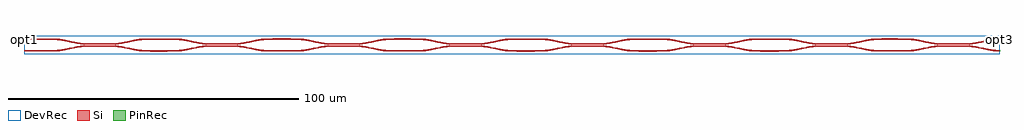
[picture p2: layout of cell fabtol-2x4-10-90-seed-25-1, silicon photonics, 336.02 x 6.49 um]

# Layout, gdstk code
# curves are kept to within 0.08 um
import gdstk
lib = gdstk.Library(unit=1e-6, precision=1e-09)
def R(c, l, rs):  # rectangles x0, y0, x1, y1
    for r in rs: c.add(gdstk.rectangle(r[:2], r[2:], *l))
def P(c, l, *ps):  # polygons
    for p in ps: c.add(gdstk.Polygon(p, *l))
Si = (1, 0)
PinRec = (1, 10)
DevRec = (68, 0)

layer_3_0_phase_sec_3_50 = lib.new_cell('layer-3_0_phase_sec_3$50')
P(layer_3_0_phase_sec_3_50, Si, [(2.134,-0.234),(0,-0.225),(0,0.225),(10,0.225),(10,-0.225)])

layer_3_0_phase_sec_2_50 = lib.new_cell('layer-3_0_phase_sec_2$50')
P(layer_3_0_phase_sec_2_50, Si, [(4.071,-0.245),(0,-0.225),(0,0.225),(10,0.225),(10,-0.225)])

layer_2_0_phase_sec_0_50 = lib.new_cell('layer-2_0_phase_sec_0$50')
P(layer_2_0_phase_sec_0_50, Si, [(2.687,-0.236),(0,-0.225),(0,0.225),(10,0.225),(10,-0.225)])

layer_0_0_phase_sec_0_50 = lib.new_cell('layer-0_0_phase_sec_0$50')
P(layer_0_0_phase_sec_0_50, Si, [(2.349,-0.235),(0,-0.225),(0,0.225),(10,0.225),(10,-0.225)])

layer_2_0_phase_sec_1_50 = lib.new_cell('layer-2_0_phase_sec_1$50')
P(layer_2_0_phase_sec_1_50, Si, [(3.107,-0.242),(0,-0.225),(0,0.225),(10,0.225),(10,-0.225)])

layer_0_0_phase_sec_1_50 = lib.new_cell('layer-0_0_phase_sec_1$50')
P(layer_0_0_phase_sec_1_50, Si, [(3.088,-0.227),(0,-0.225),(0,0.225),(10,0.225),(10,-0.225)])

layer_1_0_phase_sec_0_50 = lib.new_cell('layer-1_0_phase_sec_0$50')
P(layer_1_0_phase_sec_0_50, Si, [(6.215,-0.246),(0,-0.225),(0,0.225),(10,0.225),(10,-0.225)])

layer_2_0_phase_sec_2_50 = lib.new_cell('layer-2_0_phase_sec_2$50')
P(layer_2_0_phase_sec_2_50, Si, [(1.201,-0.234),(0,-0.225),(0,0.225),(10,0.225),(10,-0.225)])

dc_arm_up_50 = lib.new_cell('dc_arm_up$50')
R(dc_arm_up_50, Si, [(12,0.1,20,0.55)])
P(dc_arm_up_50, Si, [(12,0.1),(10.861,0.137),(9.344,0.292),(2.966,1.532),(1.481,1.712),(0,1.775),(0,2.225),(1.139,2.188),(2.656,2.033),(9.034,0.793),(10.519,0.613),(12,0.55)],
  [(20,0.1),(20,0.55),(21.481,0.613),(22.966,0.793),(29.344,2.033),(30.861,2.188),(32,2.225),(32,1.775),(30.519,1.712),(29.034,1.532),(22.656,0.292),(21.139,0.137)])

dc_arm_down_50 = lib.new_cell('dc_arm_down$50')
R(dc_arm_down_50, Si, [(12,-0.55,20,-0.1)])
P(dc_arm_down_50, Si, [(0,-2.225),(0,-1.775),(1.481,-1.712),(2.966,-1.532),(9.344,-0.292),(10.861,-0.137),(12,-0.1),(12,-0.55),(10.519,-0.613),(9.034,-0.793),(2.656,-2.033),(1.139,-2.188)],
  [(32,-2.225),(30.861,-2.188),(29.344,-2.033),(22.966,-0.793),(21.481,-0.613),(20,-0.55),(20,-0.1),(21.139,-0.137),(22.656,-0.292),(29.034,-1.532),(30.519,-1.712),(32,-1.775)])

dc_50 = lib.new_cell('dc$50')
dc_50.add(gdstk.Reference(dc_arm_up_50, (0,0)))
dc_50.add(gdstk.Reference(dc_arm_down_50, (0,0)))

layer_1_0_phase_sec_1_50 = lib.new_cell('layer-1_0_phase_sec_1$50')
P(layer_1_0_phase_sec_1_50, Si, [(4.458,-0.233),(0,-0.225),(0,0.225),(10,0.225),(10,-0.225)])

layer_1_0_phase_sec_2_50 = lib.new_cell('layer-1_0_phase_sec_2$50')
P(layer_1_0_phase_sec_2_50, Si, [(1.421,-0.245),(0,-0.225),(0,0.225),(10,0.225),(10,-0.225)])

layer_1_0_phase_sec_3_50 = lib.new_cell('layer-1_0_phase_sec_3$50')
P(layer_1_0_phase_sec_3_50, Si, [(1.061,-0.234),(0,-0.225),(0,0.225),(10,0.225),(10,-0.225)])

layer_0_0_phase_sec_3_50 = lib.new_cell('layer-0_0_phase_sec_3$50')
P(layer_0_0_phase_sec_3_50, Si, [(5.884,-0.243),(0,-0.225),(0,0.225),(10,0.225),(10,-0.225)])

layer_3_0_phase_sec_0_50 = lib.new_cell('layer-3_0_phase_sec_0$50')
P(layer_3_0_phase_sec_0_50, Si, [(3.975,-0.232),(0,-0.225),(0,0.225),(10,0.225),(10,-0.225)])

layer_3_0_phase_sec_1_50 = lib.new_cell('layer-3_0_phase_sec_1$50')
P(layer_3_0_phase_sec_1_50, Si, [(7.759,-0.244),(0,-0.225),(0,0.225),(10,0.225),(10,-0.225)])

layer_0_0_phase_sec_2_50 = lib.new_cell('layer-0_0_phase_sec_2$50')
P(layer_0_0_phase_sec_2_50, Si, [(1.336,-0.236),(0,-0.225),(0,0.225),(10,0.225),(10,-0.225)])

layer_2_0_phase_sec_3_50 = lib.new_cell('layer-2_0_phase_sec_3$50')
P(layer_2_0_phase_sec_3_50, Si, [(7.835,-0.243),(0,-0.225),(0,0.225),(10,0.225),(10,-0.225)])

fabtol_2x4_10_90_seed_25 = lib.new_cell('fabtol-2x4-10-90-seed-25-1')
R(fabtol_2x4_10_90_seed_25, DevRec, [(0,-1,336,5.49)])
fabtol_2x4_10_90_seed_25.add(gdstk.FlexPath([(0.01,4.244),(-0.01,4.244)], 0.45, ends="flush", simple_path=True, layer=1, datatype=10))  # PinRec
fabtol_2x4_10_90_seed_25.add(gdstk.FlexPath([(335.99,0.244),(336.01,0.244)], 0.45, ends="flush", simple_path=True, layer=1, datatype=10))  # PinRec
fabtol_2x4_10_90_seed_25.add(gdstk.FlexPath([(335.99,4.244),(336.01,4.244)], 0.45, ends="flush", simple_path=True, layer=1, datatype=10))  # PinRec
fabtol_2x4_10_90_seed_25.add(gdstk.Reference(layer_3_0_phase_sec_3_50, (294,0.244)))
fabtol_2x4_10_90_seed_25.add(gdstk.Reference(layer_3_0_phase_sec_2_50, (294,4.244)))
fabtol_2x4_10_90_seed_25.add(gdstk.Reference(layer_2_0_phase_sec_0_50, (168,4.244)))
fabtol_2x4_10_90_seed_25.add(gdstk.Reference(layer_0_0_phase_sec_0_50, (0,4.244)))
fabtol_2x4_10_90_seed_25.add(gdstk.Reference(layer_2_0_phase_sec_1_50, (168,0.244)))
fabtol_2x4_10_90_seed_25.add(gdstk.Reference(layer_0_0_phase_sec_1_50, (0,0.244)))
fabtol_2x4_10_90_seed_25.add(gdstk.Reference(layer_1_0_phase_sec_0_50, (84,4.244)))
fabtol_2x4_10_90_seed_25.add(gdstk.Reference(layer_2_0_phase_sec_2_50, (210,4.244)))
fabtol_2x4_10_90_seed_25.add(gdstk.Reference(dc_50, (10,2.244)))
fabtol_2x4_10_90_seed_25.add(gdstk.Reference(dc_50, (52,2.244)))
fabtol_2x4_10_90_seed_25.add(gdstk.Reference(dc_50, (94,2.244)))
fabtol_2x4_10_90_seed_25.add(gdstk.Reference(dc_50, (136,2.244)))
fabtol_2x4_10_90_seed_25.add(gdstk.Reference(dc_50, (178,2.244)))
fabtol_2x4_10_90_seed_25.add(gdstk.Reference(dc_50, (220,2.244)))
fabtol_2x4_10_90_seed_25.add(gdstk.Reference(dc_50, (262,2.244)))
fabtol_2x4_10_90_seed_25.add(gdstk.Reference(dc_50, (304,2.244)))
fabtol_2x4_10_90_seed_25.add(gdstk.Reference(layer_1_0_phase_sec_1_50, (84,0.244)))
fabtol_2x4_10_90_seed_25.add(gdstk.Reference(layer_1_0_phase_sec_2_50, (126,4.244)))
fabtol_2x4_10_90_seed_25.add(gdstk.Reference(layer_1_0_phase_sec_3_50, (126,0.244)))
fabtol_2x4_10_90_seed_25.add(gdstk.Reference(layer_0_0_phase_sec_3_50, (42,0.244)))
fabtol_2x4_10_90_seed_25.add(gdstk.Reference(layer_3_0_phase_sec_0_50, (252,4.244)))
fabtol_2x4_10_90_seed_25.add(gdstk.Reference(layer_3_0_phase_sec_1_50, (252,0.244)))
fabtol_2x4_10_90_seed_25.add(gdstk.Reference(layer_0_0_phase_sec_2_50, (42,4.244)))
fabtol_2x4_10_90_seed_25.add(gdstk.Reference(layer_2_0_phase_sec_3_50, (210,0.244)))
fabtol_2x4_10_90_seed_25.add(gdstk.Label('opt1', (0,4.244), layer=1, texttype=10))
fabtol_2x4_10_90_seed_25.add(gdstk.Label('opt3', (336,4.244), layer=1, texttype=10))
fabtol_2x4_10_90_seed_25.add(gdstk.Label('opt4', (336,0.244), layer=1, texttype=10))

lib.write_gds('fabtol-2x4-10-90-seed-25-1.gds')
